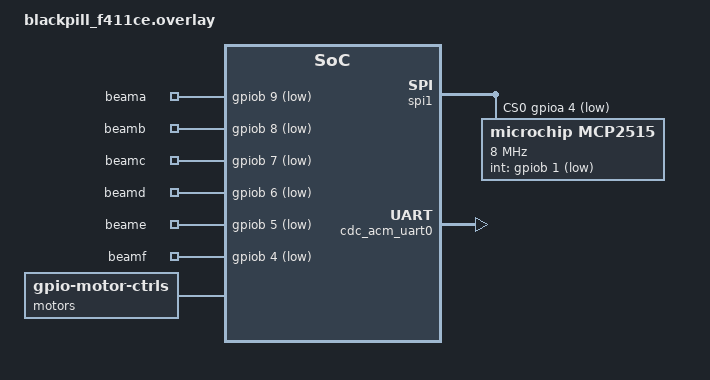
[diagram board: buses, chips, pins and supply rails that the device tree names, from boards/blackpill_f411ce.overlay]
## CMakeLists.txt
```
cmake_minimum_required(VERSION 3.20.0)

find_package(Zephyr REQUIRED HINTS $ENV{ZEPHYR_BASE})

project(dispenser)
target_sources(app PRIVATE src/main.c src/dispenser.c)
```

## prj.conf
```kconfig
CONFIG_GPIO=y
CONFIG_GPIO_SN74HC595=y
CONFIG_SPI=y
CONFIG_LED=y
CONFIG_USB_DEVICE_STACK_NEXT=y
CONFIG_CDC_ACM_SERIAL_INITIALIZE_AT_BOOT=y
```

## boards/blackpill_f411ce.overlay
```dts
#include <zephyr/dt-bindings/pinctrl/stm32-pinctrl.h>

/ {

  chosen {
    zephyr,console = &cdc_acm_uart0;
    zephyr,shell-uart = &cdc_acm_uart0;
  };

  aliases {
    led = &user_led;

    beama = &beama;
    beamb = &beamb;
    beamc = &beamc;
    beamd = &beamd;
    beame = &beame;
    beamf = &beamf;

    motora = &motora;
    motorb = &motorb;
    motorc = &motorc;
    motord = &motord;
    motore = &motore;
    motorf = &motorf;
  };

  switches {
    compatible = "gpio-keys";

     beama: beam_a {
       gpios = <&gpiob 9 GPIO_ACTIVE_LOW>;
     };
     beamb: beam_b {
       gpios = <&gpiob 8 GPIO_ACTIVE_LOW>;
     };
     beamc: beam_c {
       gpios = <&gpiob 7 GPIO_ACTIVE_LOW>;
     };
     beamd: beam_d {
       gpios = <&gpiob 6 GPIO_ACTIVE_LOW>;
     };
     beame: beam_e {
       gpios = <&gpiob 5 GPIO_ACTIVE_LOW>;
     };
     beamf: beam_f {
       gpios = <&gpiob 4 GPIO_ACTIVE_LOW>;
     };
  };

  motors {
    compatible = "gpio-motor-ctrls";

    motora: motor_a {
      gpios = <&gpiob 3 GPIO_ACTIVE_HIGH>;
    };
    motorb: motor_b {
      gpios = <&gpioa 15  GPIO_ACTIVE_HIGH>;
    };
    motorc: motor_c {
      gpios = <&gpioa 8 GPIO_ACTIVE_HIGH>;
    };
    motord: motor_d {
      gpios = <&gpiob 15 GPIO_ACTIVE_HIGH>;
    };
    motore: motor_e {
      gpios = <&gpioa 10 GPIO_ACTIVE_HIGH>;
    };
    motorf: motor_f {
      gpios = <&gpioa 9 GPIO_ACTIVE_HIGH>;
    };
  };
};

&usart1 {
  status = "disabled";
};

/* 
  Other SPI1 pins:
  PA5 CLK
  PA6 MISO
  PA7 MOSI
*/
&spi1 {
    status = "okay";
    cs-gpios = <&gpioa 4 GPIO_ACTIVE_LOW>;    

    mcp2515: mcp2515@0 {
        compatible = "microchip,mcp2515";
        reg = <0x0>;
        spi-max-frequency = <8000000>;
        int-gpios = <&gpiob 1 GPIO_ACTIVE_LOW>;
        osc-freq = <8000000>; /* 8 MHz crystal */
        status = "okay";
    };
};

&i2c1 {
  status = "disabled";
};

&zephyr_udc0 {
  cdc_acm_uart0: cdc_acm_uart0 {
    compatible = "zephyr,cdc-acm-uart";
  };
};
```

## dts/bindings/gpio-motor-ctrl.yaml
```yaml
description: A group of GPIO pins that control motor outputs.
compatible: "gpio-motor-ctrls"

child-binding:
  description: A single GPIO pin that controls a single motor via an external transistor.
  properties:
    gpios:
      type: phandle-array
      required: true
```

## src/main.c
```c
#include "dispenser.h"
#include <zephyr/drivers/can.h>
#include <zephyr/drivers/gpio.h>
#include <zephyr/drivers/led.h>
#include <zephyr/kernel.h>

#define DELAY_MS 1

static const struct gpio_dt_spec btn = GPIO_DT_SPEC_GET(DT_ALIAS(sw0), gpios);

int main(void) {
  if (!gpio_is_ready_dt(&btn)) {
    return 0;
  }
  gpio_pin_configure_dt(&btn, GPIO_INPUT);

  if (dispenser_init() != 0) {
    return 0;
  };

  while (1) {
    for (int i = 0; i < NUM_CUBBIES; i++) {
      while (!gpio_pin_get_dt(&btn)) {
        k_msleep(DELAY_MS);
      }
      dispense((enum position)i);
    }
  }

  return 0;
}
```

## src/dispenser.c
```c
#include "dispenser.h"
#include <zephyr/drivers/gpio.h>
#include <zephyr/drivers/led.h>
#include <zephyr/kernel.h>

#define DELAY_MS 1
#define WAIT_MAX_MS 5000

struct cubby {
  const struct gpio_dt_spec motor;
  const struct gpio_dt_spec beam;
};

#define CUBBY(motor_alias, beam_alias)                                         \
  {.motor = GPIO_DT_SPEC_GET(DT_ALIAS(motor_alias), gpios),                    \
   .beam = GPIO_DT_SPEC_GET(DT_ALIAS(beam_alias), gpios)}

static const struct cubby cubbies[NUM_CUBBIES] = {
    [POS_A] = CUBBY(motora, beama), [POS_B] = CUBBY(motorb, beamb),
    [POS_C] = CUBBY(motorc, beamc), [POS_D] = CUBBY(motord, beamd),
    [POS_E] = CUBBY(motore, beame), [POS_F] = CUBBY(motorf, beamf)};

static const struct led_dt_spec led = LED_DT_SPEC_GET(DT_ALIAS(led));

enum phase {
  MOVE_UNTIL_BAR_BREAKS_BEAM,
  MOVE_UNTIL_BAR_CLEARS_BEAM,
  STOP,
};

static const bool next_phase_beam_cond[2] = {
    [MOVE_UNTIL_BAR_BREAKS_BEAM] = true,
    [MOVE_UNTIL_BAR_CLEARS_BEAM] = false,
};

struct dispenser {
  enum phase curr_phase;
  atomic_t busy;
};

static struct dispenser d;

/*
  Helpers
*/

void poll_beam(const struct gpio_dt_spec *beam, int *reading) {
  *reading = gpio_pin_get_dt(beam);
  *reading ? led_on_dt(&led) : led_off_dt(&led);
}

// returns true if motor should continue for next phase
// false if end of cycle
bool move_until_next_phase(const struct gpio_dt_spec *beam) {
  if (d.curr_phase >= STOP) {
    return false;
  }

  bool cond_to_proceed = next_phase_beam_cond[d.curr_phase];

  int reading;
  int wait_count = WAIT_MAX_MS;
  while (1) {
    poll_beam(beam, &reading);
    if (reading == cond_to_proceed) {
      break;
    }

    wait_count--;
    if (wait_count <= 0) {
      return false;
    }
    k_msleep(DELAY_MS);
  }

  d.curr_phase++;
  return true;
}

/*
  Public API
*/

int dispenser_init(void) {
  atomic_clear(&d.busy);
  d.curr_phase = STOP;

  if (!led_is_ready_dt(&led)) {
    return -ENODEV;
  }

  for (int i = 0; i < NUM_CUBBIES; i++) {
    const struct cubby *c = &cubbies[i];

    if (!gpio_is_ready_dt(&c->motor)) {
      return -ENODEV;
    }
    gpio_pin_configure_dt(&c->motor, GPIO_OUTPUT_INACTIVE);

    if (!gpio_is_ready_dt(&c->beam)) {
      return -ENODEV;
    }
    gpio_pin_configure_dt(&c->beam, GPIO_INPUT);
  }

  return 0;
}

enum dispenser_result dispense(enum position pos) {
  if (atomic_get(&d.busy)) {
    return DISPENSER_ERR_BUSY;
  }

  atomic_set(&d.busy, 1);

  int beam_broken;

  const struct cubby *c = &cubbies[pos];

  poll_beam(&c->beam, &beam_broken);
  d.curr_phase =
      beam_broken ? MOVE_UNTIL_BAR_CLEARS_BEAM : MOVE_UNTIL_BAR_BREAKS_BEAM;

  gpio_pin_set_dt(&c->motor, 1);
  while (move_until_next_phase(&c->beam))
    ;
  gpio_pin_set_dt(&c->motor, 0);
  poll_beam(&c->beam, &beam_broken);

  atomic_clear(&d.busy);
  return DISPENSER_OK;
}
```

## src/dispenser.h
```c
#pragma once

enum position {
  POS_A,
  POS_B,
  POS_C,
  POS_D,
  POS_E,
  POS_F,
  NUM_CUBBIES
};

enum dispenser_result {
  DISPENSER_OK,
  DISPENSER_ERR_BUSY,
  DISPENSER_ERR_TIMEOUT
};

int dispenser_init(void);

// dispense is a blocking call until item is dispensed,
// or timeout occurs.
enum dispenser_result dispense(enum position pos);
```
